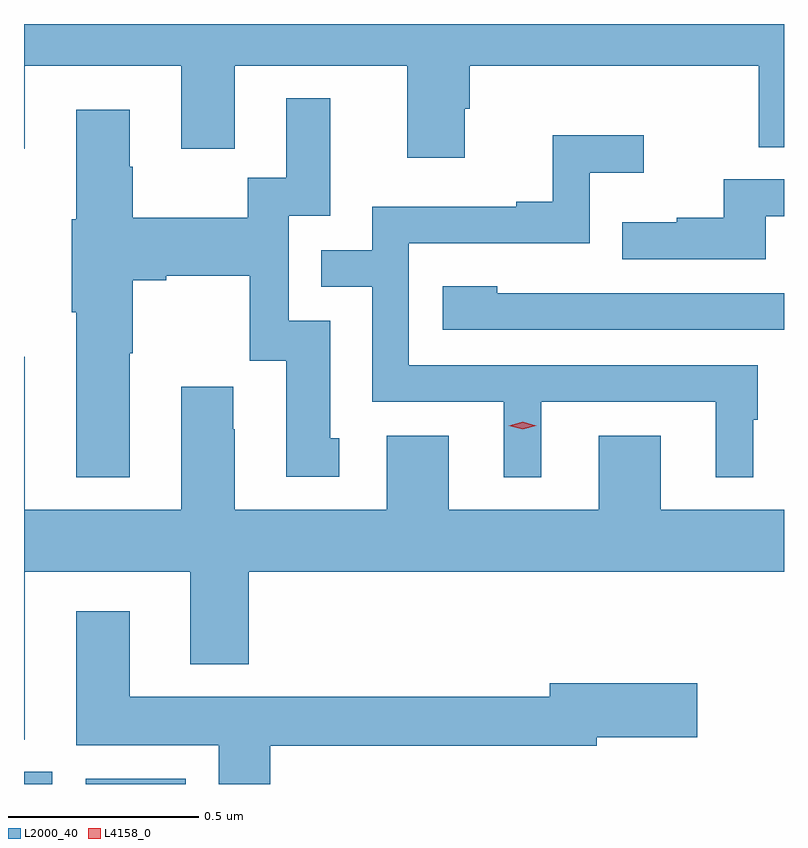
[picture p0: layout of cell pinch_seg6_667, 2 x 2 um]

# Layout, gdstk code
import gdstk
lib = gdstk.Library(unit=1e-6, precision=1e-09)
def R(c, l, rs):  # rectangles x0, y0, x1, y1
    for r in rs: c.add(gdstk.rectangle(r[:2], r[2:], *l))
def P(c, l, *ps):  # polygons
    for p in ps: c.add(gdstk.Polygon(p, *l))
L2000_40 = (2000, 40)
L4158_0 = (4158, 0)

pinch_seg6_667 = lib.new_cell('pinch_seg6_667')
R(pinch_seg6_667, L2000_40, [(408.827,924.134,408.901,924.166), (408.989,924.134,409.252,924.148)])
P(pinch_seg6_667, L2000_40, [(408.827,925.806),(408.829,925.806),(408.829,926.024),(409.241,926.024),(409.241,925.806),(409.381,925.806),(409.381,926.024),(409.835,926.024),(409.835,925.782),(409.987,925.782),(409.987,925.911),(410,925.911),(410,926.024),(410.76,926.024),(410.76,925.81),(410.827,925.81),(410.827,926.134),(408.827,926.134)],
  [(409.105,925.267),(409.113,925.267),(409.113,925.46),(409.201,925.46),(409.201,925.472),(409.421,925.472),(409.421,925.248),(409.517,925.248),(409.517,924.942),(409.657,924.942),(409.657,925.044),(409.633,925.044),(409.633,925.353),(409.524,925.353),(409.524,925.629),(409.633,925.629),(409.633,925.939),(409.517,925.939),(409.517,925.73),(409.416,925.73),(409.416,925.624),(409.113,925.624),(409.113,925.758),(409.105,925.758),(409.105,925.909),(408.965,925.909),(408.965,925.62),(408.953,925.62),(408.953,925.376),(408.965,925.376),(408.965,924.941),(409.105,924.941)],
  [(410.188,925.14),(410.648,925.14),(410.648,924.941),(410.746,924.941),(410.746,925.092),(410.758,925.092),(410.758,925.236),(409.839,925.236),(409.839,925.557),(410.316,925.557),(410.316,925.742),(410.458,925.742),(410.458,925.841),(410.218,925.841),(410.218,925.666),(410.123,925.666),(410.123,925.653),(409.743,925.653),(409.743,925.539),(409.609,925.539),(409.609,925.443),(409.743,925.443),(409.743,925.14),(410.09,925.14),(410.09,924.941),(410.188,924.941)],
  [(410.779,925.628),(410.827,925.628),(410.827,925.725),(410.669,925.725),(410.669,925.624),(410.545,925.624),(410.545,925.612),(410.401,925.612),(410.401,925.515),(410.779,925.515)],
  [(410.827,925.425),(410.309,925.425),(410.309,925.426),(410.073,925.426),(410.073,925.444),(409.929,925.444),(409.929,925.329),(410.827,925.329)],
  [(408.829,924.692),(409.265,924.692),(409.265,924.449),(409.418,924.449),(409.418,924.692),(410.827,924.692),(410.827,924.856),(410.503,924.856),(410.503,925.051),(410.339,925.051),(410.339,924.856),(409.945,924.856),(409.945,925.051),(409.781,925.051),(409.781,924.856),(409.381,924.856),(409.381,925.067),(409.378,925.067),(409.378,925.18),(409.241,925.18),(409.241,924.856),(408.829,924.856),(408.829,925.258),(408.827,925.258),(408.827,924.251),(408.829,924.251)],
  [(409.475,924.235),(410.334,924.235),(410.334,924.257),(410.599,924.257),(410.599,924.399),(410.21,924.399),(410.21,924.364),(409.105,924.364),(409.105,924.589),(408.965,924.589),(408.965,924.236),(409.34,924.236),(409.34,924.134),(409.475,924.134)])
P(pinch_seg6_667, L4158_0, [(410.139,925.067),(410.103,925.077),(410.103,925.077),(410.103,925.077),(410.139,925.087),(410.175,925.077),(410.175,925.077),(410.175,925.077)])

lib.write_gds('pinch_seg6_667.gds')
